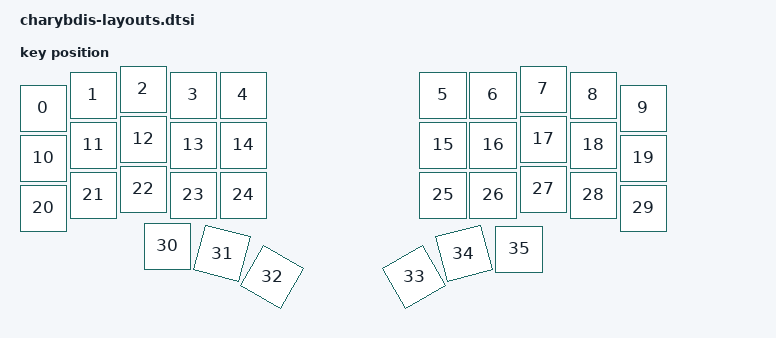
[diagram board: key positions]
#include <physical_layouts.dtsi>

/ {
    charybdis_physical_layout: charybdis_physical_layout {
        compatible = "zmk,physical-layout";
        display-name = "Charybdis 3x6";

        kscan = <&kscan0>;
        transform = <&default_transform>;

        keys  //                     w   h    x    y     rot    rx    ry
            = <&key_physical_attrs 100 100    0   38       0     0     0>
            , <&key_physical_attrs 100 100  100   12       0     0     0>
            , <&key_physical_attrs 100 100  200    0       0     0     0>
            , <&key_physical_attrs 100 100  300   12       0     0     0>
            , <&key_physical_attrs 100 100  400   12       0     0     0>
            , <&key_physical_attrs 100 100  800   12       0     0     0>
            , <&key_physical_attrs 100 100  900   12       0     0     0>
            , <&key_physical_attrs 100 100 1000    0       0     0     0>
            , <&key_physical_attrs 100 100 1100   12       0     0     0>
            , <&key_physical_attrs 100 100 1200   38       0     0     0>
            , <&key_physical_attrs 100 100    0  138       0     0     0>
            , <&key_physical_attrs 100 100  100  112       0     0     0>
            , <&key_physical_attrs 100 100  200  100       0     0     0>
            , <&key_physical_attrs 100 100  300  112       0     0     0>
            , <&key_physical_attrs 100 100  400  112       0     0     0>
            , <&key_physical_attrs 100 100  800  112       0     0     0>
            , <&key_physical_attrs 100 100  900  112       0     0     0>
            , <&key_physical_attrs 100 100 1000  100       0     0     0>
            , <&key_physical_attrs 100 100 1100  112       0     0     0>
            , <&key_physical_attrs 100 100 1200  138       0     0     0>
            , <&key_physical_attrs 100 100    0  238       0     0     0>
            , <&key_physical_attrs 100 100  100  212       0     0     0>
            , <&key_physical_attrs 100 100  200  200       0     0     0>
            , <&key_physical_attrs 100 100  300  212       0     0     0>
            , <&key_physical_attrs 100 100  400  212       0     0     0>
            , <&key_physical_attrs 100 100  800  212       0     0     0>
            , <&key_physical_attrs 100 100  900  212       0     0     0>
            , <&key_physical_attrs 100 100 1000  200       0     0     0>
            , <&key_physical_attrs 100 100 1100  212       0     0     0>
            , <&key_physical_attrs 100 100 1200  238       0     0     0>
            , <&key_physical_attrs 100 100  248  314       0     0     0>
            , <&key_physical_attrs 100 100  248  314    1500   298   790>
            , <&key_physical_attrs 100 100  248  320    3000   298   790>
            , <&key_physical_attrs 100 100  952  320 (-3000)  1002   790>
            , <&key_physical_attrs 100 100  952  314 (-1500)  1002   790>
            , <&key_physical_attrs 100 100  952  320       0     0     0>
            ;
    };
};
